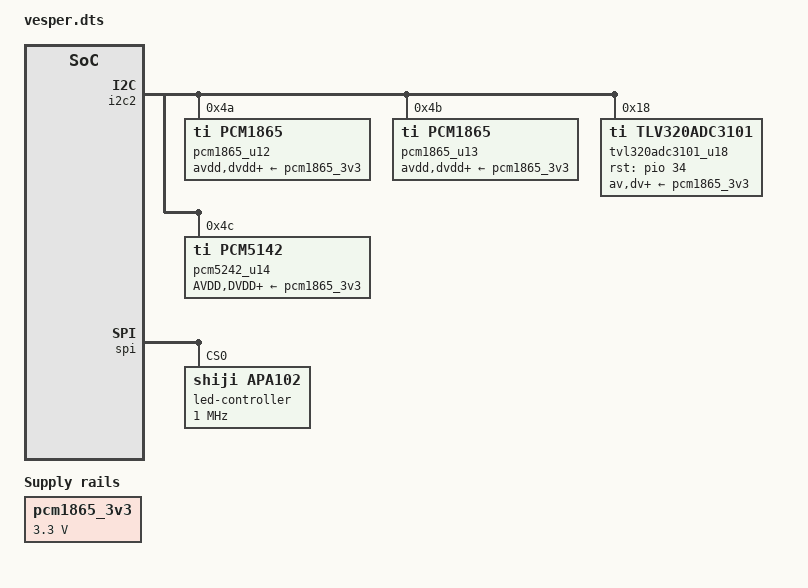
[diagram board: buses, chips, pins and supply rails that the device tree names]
#include "mt8516-pinfunc.h"

/dts-v1/;
/plugin/;

/ {
	fragment@0 {
		target-path = "/";
		__overlay__ {
			pcm1865_3v3: fixedregulator {
				compatible = "regulator-fixed";
				regulator-name = "pcm1865_3v3";
				regulator-min-microvolt = <3300000>;
				regulator-max-microvolt = <3300000>;
				regulator-always-on;
			};

			sound: sound {
				compatible = "mediatek,mt8516-soc-vesper";
				pinctrl-names = "default";
				pinctrl-0 = <&aud_pins_vesper>;
				tdmadc-1p8v-supply = <&mt6392_vcn18_reg>;
				tdmadc-3p3v-supply = <&mt6392_vmch_reg>;
				mediatek,tdmin-adc = <&pcm1865_u12>, <&pcm1865_u13>;

				dai-link-0 {
					sound-dai = <&afe>;
					dai-link-name = "TDM Capture";
					dai-format = "tdm";

					codec-0 {
						sound-dai = <&pcm1865_u12>;
						tdm-mask = <0x0f>;
					};

					codec-1 {
						sound-dai = <&pcm1865_u13>;
						tdm-mask = <0xc0>;
					};

					codec-2 {
						sound-dai = <&tvl320adc3101_u18>;
						tdm-mask = <0x30>;
					};
				};

				dai-link-1 {
					sound-dai = <&afe>;
					dai-link-name = "TDM Capture 6.1";
					dai-format = "tdm";

					codec-0 {
						sound-dai = <&pcm1865_u12>;
						tdm-mask = <0x0f>;
					};

					codec-1 {
						sound-dai = <&pcm1865_u13>;
						tdm-mask = <0xf0>;
					};
				};

				dai-link-2 {
					sound-dai = <&afe>;
					dai-link-name = "I2S BE";

					codec-0 {
						sound-dai = <&pcm5242_u14>;
					};
				};
			};
		};
	};

	fragment@1 {
		target = <&afe>;
		__overlay__ {
			/* 0(HDMI) 1(I2S) 2(TDM) */
			mediatek,tdm-out-mode = <0>;
			mediatek,tdm-in-lrck-cycle = <1>;
		};
	};

	fragment@2 {
		target = <&i2c2>;
		__overlay__ {
			#address-cells = <1>;
			#size-cells = <0>;

			pcm1865_u12: audio-codec@4a {
				compatible = "ti,pcm1865";
				sound-name-prefix = "U12_";
				reg = <0x4a>;
				#sound-dai-cells = <0>;
				adc1-left-input-select = <0x10>;
				adc1-right-input-select = <0x10>;
				adc2-left-input-select = <0x20>;
				adc2-right-input-select = <0x20>;
				apga-gain-control = <0xff>;

				avdd-supply  = <&pcm1865_3v3>;
				dvdd-supply  = <&pcm1865_3v3>;
				iovdd-supply = <&pcm1865_3v3>;
			};

			pcm1865_u13: audio-codec@4b {
				compatible = "ti,pcm1865";
				sound-name-prefix = "U13_";
				reg = <0x4b>;
				#sound-dai-cells = <0>;
				adc1-left-input-select = <0x10>;
				adc1-right-input-select = <0x10>;
				adc2-left-input-select = <0x20>;
				adc2-right-input-select = <0x20>;
				apga-gain-control = <0xff>;

				avdd-supply  = <&pcm1865_3v3>;
				dvdd-supply  = <&pcm1865_3v3>;
				iovdd-supply = <&pcm1865_3v3>;
			};

			tvl320adc3101_u18: audio-codec@18 {
				compatible = "ti,tlv320adc3101";
				sound-name-prefix = "U18_";
				reg = <0x18>;
				#sound-dai-cells = <0>;
				rst-gpio = <&pio 34 0>;
				left-pin-select = <1>;
				right-pin-select = <1>;

				av-supply  = <&pcm1865_3v3>;
				dv-supply  = <&pcm1865_3v3>;
				iov-supply = <&pcm1865_3v3>;
			};

			pcm5242_u14: audio-codec@4c {
				compatible = "ti,pcm5142";
				sound-name-prefix = "VPB_";
				reg = <0x4c>;
				#sound-dai-cells = <0>;
				AVDD-supply = <&pcm1865_3v3>;
				DVDD-supply = <&pcm1865_3v3>;
				CPVDD-supply = <&pcm1865_3v3>;
			};
		};
	};

	fragment@3 {
		target = <&spi>;
		__overlay__ {
			status = "okay";

			led-controller@0 {
				compatible = "shiji,apa102";
				reg = <0>;
				spi-max-frequency = <1000000>;
				#address-cells = <1>;
				#size-cells = <0>;
				pinctrl-names = "default";
				pinctrl-0 = <&led_pins>;

				led@0 {
					reg = <0>;
					label = "led1";
				};

				led@1 {
					reg = <1>;
					label = "led2";
				};

				led@2 {
					reg = <2>;
					label = "led3";
				};

				led@3 {
					reg = <3>;
					label = "led4";
				};

				led@4 {
					reg = <4>;
					label = "led5";
				};

				led@5 {
					reg = <5>;
					label = "led6";
				};

				led@6 {
					reg = <6>;
					label = "led7";
				};
			};
		};
	};

	fragment@4 {
		target = <&pio>;
		__overlay__ {
			aud_pins_vesper: audiovesper {
				pins_cmd_dat {
					pinmux = <MT8516_PIN_25_EINT25__FUNC_I2S_8CH_MCK>,	/* 40 pin I2S_MCLK	*/
						 <MT8516_PIN_55_I2S_DATA_IN__FUNC_I2S_8CH_DO1>,	/* 40 pin I2S_DOUT	*/
						 <MT8516_PIN_56_I2S_LRCK__FUNC_I2S_8CH_LRCK>,	/* 40 pin I2S_FS	*/
						 <MT8516_PIN_57_I2S_BCK__FUNC_I2S_8CH_BCK>,     /* 40 pin I2S_BCK	*/
						 <MT8516_PIN_19_EINT19__FUNC_I2S2_DI>,		/* 40 pin I2S_DIN	*/
						 <MT8516_PIN_100_CMDAT0__FUNC_TDM_RX_MCK>,	/* 40 pin TDM_IN_MCLK	*/
						 <MT8516_PIN_101_CMDAT1__FUNC_TDM_RX_BCK>,	/* 40 pin TDM_IN_BCLK	*/
						 <MT8516_PIN_102_CMMCLK__FUNC_TDM_RX_LRCK>,	/* 40 pin TDM_IN_FS	*/
						 <MT8516_PIN_103_CMPCLK__FUNC_TDM_RX_DI>,	/* 40 pin TDM_IN_DATA	*/
						 <MT8516_PIN_36_MRG_CLK__FUNC_I2S0_BCK>,	/* BT_PCM_CLK	*/
						 <MT8516_PIN_37_MRG_SYNC__FUNC_I2S0_LRCK>,	/* BT_PCM_SYNC	*/
						 <MT8516_PIN_48_SPI_CS__FUNC_I2S0_DI>,		/* BT_PCM_DI	*/
						 <MT8516_PIN_20_EINT20__FUNC_I2S3_DO>;		/* BT_PCM_DO	*/
					 drive-strength = <MTK_DRIVE_4mA>;
				};

				vesper_u1_en {
					pinmux = <MT8516_PIN_50_SPI_MI__FUNC_GPIO50>;	/* Pin to enable Vesper 1V8 reg */
					drive-strength = <MTK_DRIVE_4mA>;
					output-high;
				};
				pins_adc3_reset {
					pinmux = <MT8516_PIN_34_URXD2__FUNC_GPIO34>;
					output-low;
				};
			};

			led_pins: led-pins {
				pins {
					pinmux = <MT8516_PIN_23_EINT23__FUNC_GPIO23>;
					output-high;
				};
			};
		};
	};

	/* UART2 can't be used at the same time as vesper
	 * as they share the same pin (GPIO034) */
	fragment@5 {
		target = <&uart2>;
		__overlay__ {
			status = "disabled";
		};
	};
};
